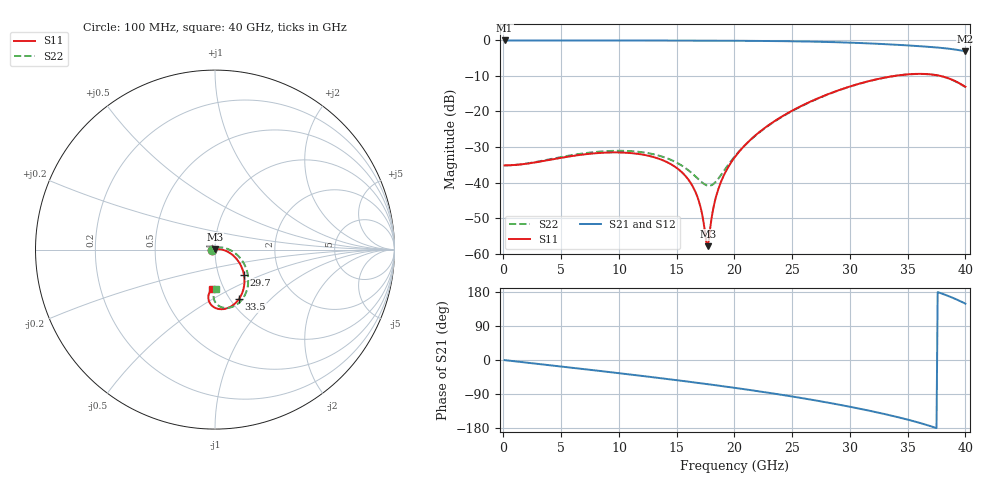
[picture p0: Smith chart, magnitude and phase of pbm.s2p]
! B_ts6_L1L6: physics-based via model (prototype), ports at the via
# Hz S RI R 50
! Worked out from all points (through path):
!   400 points, 100 MHz to 40 GHz, reference 50 ohm
!   highest |S21| = -0.15 dB at 100 MHz (marker M1); lowest = -3.2 dB at 40 GHz (marker M2)
!   group delay of S21, straight-line fit = 13.2 ps
!   lowest |S11| = -57.8 dB at 17.7 GHz (marker M3), VSWR 1.00, Z = 50 + j0.129 ohm
!   |S11| at or under -10 dB: start of sweep to 34.04 GHz; 37.71 GHz to end of sweep
!   |S22| runs from -40.9 to -9.5 dB; largest |S21 - S12| = 0
!   S11 on the Smith chart (normalised r, x): 100 MHz: 0.97, -0.00; 29.7 GHz: 1.32, -0.39; 33.5 GHz: 1.09, -0.67; 40 GHz: 0.88, -0.40
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1e8  -0.0175 -0.000222  0.9825 -0.00587  0.9825 -0.00587  -0.0175 -0.000226
6.8e9  -0.0217 -0.0119  0.9007 -0.3902  0.9007 -0.3902  -0.0228 -0.0117
1.05e10  -0.0236 -0.0117  0.7878 -0.5837  0.7878 -0.5837  -0.026 -0.0104
1.34e10  -0.0205 -0.00744  0.6657 -0.7181  0.6657 -0.7181  -0.0237 -0.00447
1.52e10  -0.0148 -0.00364  0.5751 -0.7912  0.5751 -0.7912  -0.0183 0.000802
1.64e10  -0.00875 -0.00106  0.5083 -0.8346  0.5083 -0.8346  -0.0124 0.00456
1.71e10  -0.00431 0.000297  0.4671 -0.8576  0.4671 -0.8576  -0.008 0.00667
1.73e10  -0.00291 0.000649  0.455 -0.8639  0.455 -0.8639  -0.00659 0.00725
1.76e10  -0.00069 0.00114  0.4366 -0.8729  0.4366 -0.8729  -0.00435 0.00809
1.77e10  8.1e-05 0.00129  0.4304 -0.8759  0.4304 -0.8759  -0.00357 0.00837
1.81e10  0.00332 0.00184  0.4053 -0.8873  0.4053 -0.8873  -0.000268 0.0094
1.85e10  0.00683 0.00226  0.3796 -0.8981  0.3796 -0.8981  0.00331 0.0103
1.92e10  0.0136 0.00266  0.3333 -0.9152  0.3333 -0.9152  0.0103 0.0117
2.01e10  0.0235 0.00233  0.2715 -0.9338  0.2715 -0.9338  0.0206 0.0126
2.28e10  0.0609 -0.00729  0.0714 -0.9632  0.0714 -0.9632  0.0603 0.00723
2.67e10  0.1262 -0.0596  -0.2438 -0.9147  -0.2438 -0.9147  0.1329 -0.0388
2.97e10  0.1615 -0.1419  -0.4818 -0.7828  -0.4818 -0.7828  0.178 -0.1184
3.34e10  0.1349 -0.2732  -0.713 -0.4921  -0.713 -0.4921  0.1661 -0.2541
3.35e10  0.1327 -0.2764  -0.7176 -0.4823  -0.7176 -0.4823  0.1642 -0.2577
3.73e10  0.0011 -0.3247  -0.7883 -0.0319  -0.7883 -0.0319  0.0377 -0.3214
3.87e10  -0.0352 -0.2816  -0.7287 0.1722  -0.7287 0.1722  -0.00378 -0.2824
4e10  -0.0188 -0.22  -0.59 0.3585  -0.59 0.3585  0.00517 -0.2186
